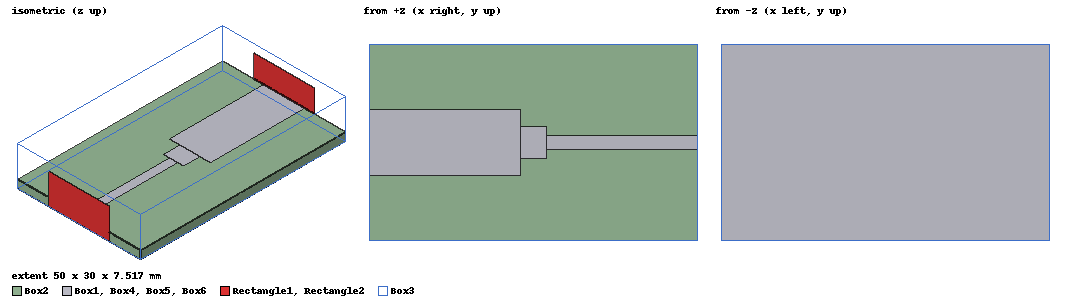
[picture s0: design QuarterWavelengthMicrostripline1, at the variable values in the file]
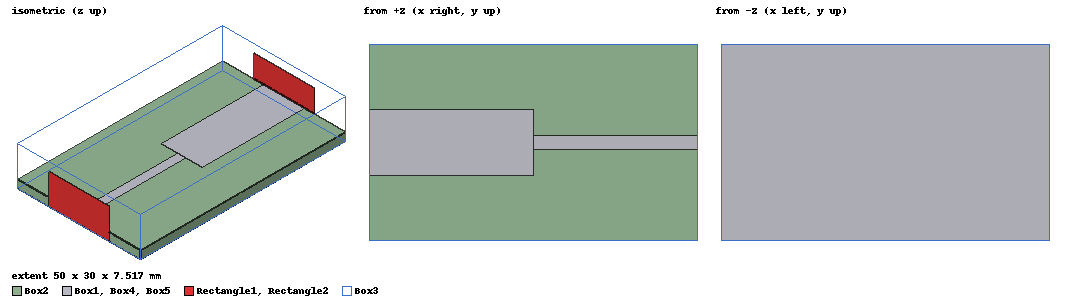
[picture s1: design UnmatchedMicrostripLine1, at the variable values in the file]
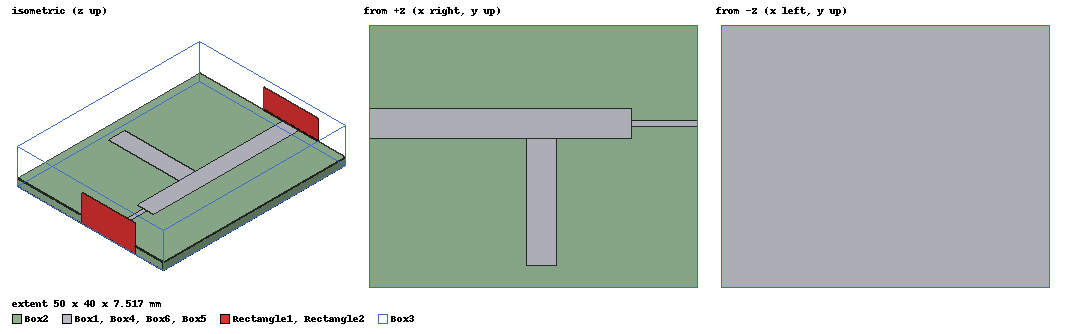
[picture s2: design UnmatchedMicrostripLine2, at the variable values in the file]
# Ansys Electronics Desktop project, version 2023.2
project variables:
  $L = 3.98mm
  $G = 3.98mm
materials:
  vacuum: permittivity=1
  pec: conductivity=1e+30
  air: permittivity=1.0006 permeability=1.0000004
  Teflon (tm): permittivity=2.1 dielectric_loss_tangent=0.001

design QuarterWavelengthMicrostripline1 (HFSS, HFSS Terminal Network, model units mm)
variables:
  Len = 3.98mm
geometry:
  Box1 [pec] = box(corner=(0mm, 0mm, 0mm), size=(50mm, 30mm, 17um))
  Box2 [Teflon (tm)] = box(corner=(0mm, 0mm, 17um), size=(50mm, 30mm, 2mm))
  Box3 [air] = box(corner=(0mm, 0mm, 0mm), size=(50mm, 30mm, 9.5mm))
  Box4 [pec] = box(corner=(0mm, 10mm, 2.017mm), size=(25mm-Len/2, 10mm, 17um))
  Box5 [pec] = box(corner=(25mm+Len/2, 14mm, 2mm), size=(25mm-Len/2, 2mm, 17um))
  Rectangle1 = rectangle(corner=(0mm, 7.5mm, 0mm), y_size=15mm, z_size=7.5mm)
  Rectangle2 = rectangle(corner=(50mm, 7.5mm, 0.017mm), y_size=15mm, z_size=7.5mm)
  Box6 [pec] = box(corner=(25mm-Len/2, 12.555961mm, 2.017mm), size=(Len, 4.888077829mm, 17um))
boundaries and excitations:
  1: Wave Port Objects=Rectangle2 WavePortType=Modal NumModes=1 Modes{Mode1{CharImp=Zpi}}
  2: Wave Port Objects=Rectangle1 WavePortType=Modal NumModes=1 Modes{Mode1{CharImp=Zpi}}
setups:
  Setup1: HfssDriven Frequency=12GHz MaxDeltaS=0.005 MaximumPasses=6 MinimumPasses=1 MinimumConvergedPasses=1 PercentRefinement=30 BasisOrder=1 PortAccuracy=2 DrivenSolverType="Direct Solver"
    sweep Sweep: 10GHz to 16GHz, 401 points; Type=Interpolating InterpTolerance=0.5 InterpMaxSolns=250 PassivityErrorTolerance=0.0001
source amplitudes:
  1:1: 1V 0deg
  2:1: 0V 0deg
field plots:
  Vector_Jsurf1: Jsurf over Box4.face(all 6) on Setup1 : LastAdaptive at Freq=12GHz Phase=0deg
  Vector_Jsurf2: Jsurf over Box6.face(all 6) on Setup1 : LastAdaptive at Freq=12GHz Phase=0deg
  Vector_Jsurf3: Jsurf over Box5.face(all 6) on Setup1 : LastAdaptive at Freq=12GHz Phase=0deg
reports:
  Terminal S Parameter Plot 1: dB(St(1,1)) vs Freq on Setup1 : Sweep; markers m1 at 12GHz

design UnmatchedMicrostripLine1 (HFSS, HFSS Terminal Network, model units mm)
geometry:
  Box1 [pec] = box(corner=(0mm, 0mm, 0mm), size=(50mm, 30mm, 17um))
  Box2 [Teflon (tm)] = box(corner=(0mm, 0mm, 17um), size=(50mm, 30mm, 2mm))
  Box3 [air] = box(corner=(0mm, 0mm, 0mm), size=(50mm, 30mm, 9.5mm))
  Box4 [pec] = box(corner=(0mm, 10mm, 2.017mm), size=(25mm, 10mm, 17um))
  Box5 [pec] = box(corner=(25mm, 14mm, 2mm), size=(25mm, 2mm, 17um))
  Rectangle1 = rectangle(corner=(0mm, 7.5mm, 0mm), y_size=15mm, z_size=7.5mm)
  Rectangle2 = rectangle(corner=(50mm, 7.5mm, 0.017mm), y_size=15mm, z_size=7.5mm)
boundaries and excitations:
  1: Wave Port Objects=Rectangle2 WavePortType=Modal NumModes=1 Modes{Mode1{CharImp=Zpi}}
  2: Wave Port Objects=Rectangle1 WavePortType=Modal NumModes=1 Modes{Mode1{CharImp=Zpi}}
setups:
  Setup1: HfssDriven Frequency=12GHz MaxDeltaS=0.02 MaximumPasses=8 MinimumPasses=1 MinimumConvergedPasses=1 PercentRefinement=30 BasisOrder=1 PortAccuracy=2 DrivenSolverType="Direct Solver"
    sweep Sweep: 6GHz to 18GHz, 401 points; Type=Interpolating InterpTolerance=0.5 InterpMaxSolns=250 PassivityErrorTolerance=0.0001
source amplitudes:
  1:1: 1V 0deg
  2:1: 0V 0deg
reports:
  Terminal S Parameter Plot 1: dB(St(1,1)) vs Freq on Setup1 : Sweep; markers m1 at 12GHz, m2 at 12GHz

design UnmatchedMicrostripLine2 (HFSS, HFSS Terminal Network, model units mm)
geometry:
  Box1 [pec] = box(corner=(0mm, -10mm, 0mm), size=(50mm, 40mm, 17um))
  Box2 [Teflon (tm)] = box(corner=(0mm, -10mm, 17um), size=(50mm, 40mm, 2mm))
  Box3 [air] = box(corner=(0mm, -10mm, 0mm), size=(50mm, 40mm, 9.5mm))
  Box4 [pec] = box(corner=(0mm, 12.75mm, 2.017mm), size=(40mm, 4.5mm, 17um))
  Box5 [pec] = box(corner=(40mm, 14.5mm, 2mm), size=(10mm, 1mm, 17um))
  Rectangle1 = rectangle(corner=(0mm, 7.5mm, 0mm), y_size=15mm, z_size=7.5mm)
  Rectangle2 = rectangle(corner=(50mm, 7.5mm, 0.017mm), y_size=15mm, z_size=7.5mm)
  Box6 [pec] = box(corner=((40-16) mm, (12.75-19.3870061567) mm, 2.017mm), size=(4.5mm, 19.387006mm, 17um))
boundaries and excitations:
  1: Wave Port Objects=Rectangle2 WavePortType=Modal NumModes=1 Modes{Mode1{CharImp=Zpi}}
  2: Wave Port Objects=Rectangle1 WavePortType=Modal NumModes=1 Modes{Mode1{CharImp=Zpi}}
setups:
  Setup1: HfssDriven Frequency=5GHz MaxDeltaS=0.003 MaximumPasses=10 MinimumPasses=1 MinimumConvergedPasses=1 PercentRefinement=30 BasisOrder=1 PortAccuracy=2 DrivenSolverType="Direct Solver"
    sweep Sweep: 4.1GHz to 5.9GHz, 450 points; Type=Interpolating InterpTolerance=0.5 InterpMaxSolns=250 PassivityErrorTolerance=0.0001
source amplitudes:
  1:1: 1V 0deg
  2:1: 0V 0deg
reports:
  Terminal S Parameter Plot 1: dB(St(1,1)) vs Freq on Setup1 : Sweep; markers m1 at 5GHz, m2 at 4.4888641GHz
